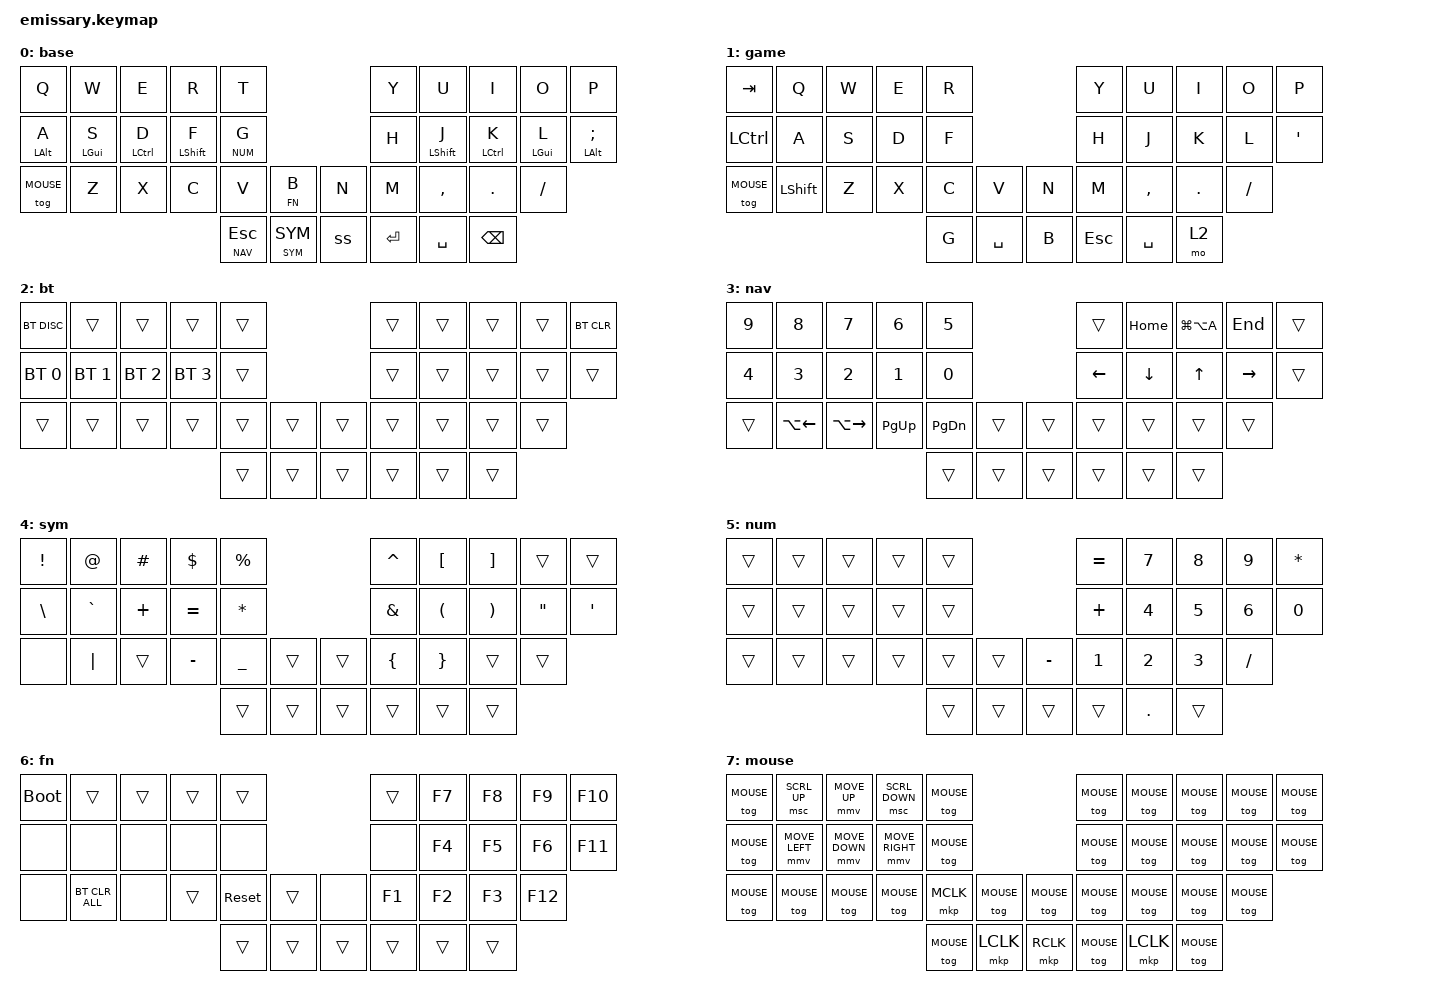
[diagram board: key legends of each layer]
#include <dt-bindings/zmk/outputs.h> // enable output switching to USB
#include <behaviors.dtsi>
#include <dt-bindings/zmk/keys.h>
#include <dt-bindings/zmk/bt.h>
#include "./mouse.dtsi"

/* Layers (Must be all caps. Layers can only access other layers that appear later in the stack, ie layer 7 cannot access layer 0. */
# define BASE   0
# define GAME   1
# define BT     2
# define NAV    3
# define SYM    4
# define NUM    5
# define FN     6
# define MOUSE  7

/* Abstractions */
// tapping-term-ms = time before hold is triggered on same side
#define HM_TAPPING_TERM 300
// quick-tap-ms = repeat on tap-into-hold occurs after this time
#define HM_TAPPING_TERM_FAST 200
// require-prior-idle-ms = if HRM was pressed n ms after a key was tapped, output a tap instead of a mod.
#define HM_PRIOR_IDLE 105

#define KEYS_L 0 1 2 3 4 5 11 12 13 14 15 21 22 23 24 25
#define KEYS_R 6 7 8 9 10 16 17 18 19 20 26 27 28 29 30
#define KEYS_T 31 32 33 34 35 36

#define COMBO(NAME, BINDINGS, KEYPOS, LAYERS, TIME) \
  combo_##NAME { \
    timeout-ms = <TIME>; \
    bindings = <BINDINGS>; \
    key-positions = <KEYPOS>; \
    layers = <LAYERS>; \
  };

/* Behavior settings */
&soft_off {
    hold-time-ms = <10>;
};

&caps_word {
    continue-list = <UNDER MINUS>;
};
&sk { //sticky key
    release-after-ms = <100>;
    quick-release; // no double capitalization when rolling keys
};
&sl {
    release-after-ms = <100>;
};

/* Key positions
    1  2  3  4  5  6  7  8  9 10
   11 12 13 14 15 16 17 18 19 20
0  21 22 23 24 25 26 27 28 29 30
     [31]32 33 34 35[36]          */

/ {
    macros {
        awm: awm {
            compatible = "zmk,behavior-macro";
            #binding-cells = <0>;
            wait-ms = <0>;
            bindings =
                <&macro_press &mo NAV &kp LGUI>,
                <&macro_pause_for_release>,
                <&macro_release &mo NAV &kp LGUI>;
            };
        };

    behaviors {
        ss: smart_shift {
            compatible = "zmk,behavior-tap-dance";
            #binding-cells = <0>;
            tapping-term-ms = <400>;
            bindings = <&sk LSHFT>, <&caps_word>;
        };
        wm: window_man {
            compatible = "zmk,behavior-hold-tap";
            #binding-cells = <2>;
            flavor = "hold-preferred";
            tapping-term-ms = <280>;
            bindings = <&awm>, <&sk>; // pass 0 as a dummy binding for the awm macro
        };
        mo_sl: mo_sl {
            compatible = "zmk,behavior-hold-tap";
            #binding-cells = <2>;
            flavor = "balanced";
            tapping-term-ms = <280>;
            bindings = <&mo>, <&sl>;
        };
        hml: homerow_mods_left {
            compatible = "zmk,behavior-hold-tap";
            #binding-cells = <2>;
            flavor = "balanced";
            tapping-term-ms = <HM_TAPPING_TERM>;
            quick-tap-ms = <175>;
            require-prior-idle-ms = <HM_PRIOR_IDLE>;
            hold-trigger-key-positions = <KEYS_R KEYS_T>;
            hold-trigger-on-release;
            bindings = <&kp>, <&kp>;
        };
        hmr: homerow_mods_right {
            compatible = "zmk,behavior-hold-tap";
            #binding-cells = <2>;
            flavor = "balanced";
            tapping-term-ms = <HM_TAPPING_TERM>;
            quick-tap-ms = <175>;
            require-prior-idle-ms = <HM_PRIOR_IDLE>;
            hold-trigger-key-positions = <KEYS_L KEYS_T>;
            hold-trigger-on-release;
            bindings = <&kp>, <&kp>;
        };
        lmk: left_mo_kp {
            compatible = "zmk,behavior-hold-tap";
            #binding-cells = <2>;
            flavor = "balanced";
            tapping-term-ms = <HM_TAPPING_TERM>;
            quick-tap-ms = <175>;
            require-prior-idle-ms = <HM_PRIOR_IDLE>;
            hold-trigger-key-positions = <KEYS_R KEYS_T>;
            hold-trigger-on-release;
            bindings = <&mo>, <&kp>;
        };
        rmk: right_mo_kp {
            compatible = "zmk,behavior-hold-tap";
            #binding-cells = <2>;
            flavor = "balanced";
            tapping-term-ms = <HM_TAPPING_TERM>;
            quick-tap-ms = <175>;
            require-prior-idle-ms = <HM_PRIOR_IDLE>;
            hold-trigger-key-positions = <KEYS_L KEYS_T>;
            hold-trigger-on-release;
            bindings = <&mo>, <&kp>;
        };
        hml_sh: homerow_shift_left {
            compatible = "zmk,behavior-hold-tap";
            #binding-cells = <2>;
            flavor = "balanced";
            tapping-term-ms = <200>;
            quick-tap-ms = <175>;
            require-prior-idle-ms = <HM_PRIOR_IDLE>;
            hold-trigger-key-positions = <KEYS_R KEYS_T>;
            hold-trigger-on-release;
            bindings = <&kp>, <&kp>;
        };
        hmr_sh: homerow_shift_right {
            compatible = "zmk,behavior-hold-tap";
            #binding-cells = <2>;
            flavor = "balanced";
            tapping-term-ms = <200>;
            quick-tap-ms = <175>;
            require-prior-idle-ms = <HM_PRIOR_IDLE>;
            hold-trigger-key-positions = <KEYS_L KEYS_T>;
            hold-trigger-on-release;
            bindings = <&kp>, <&kp>;
        }; 
    };

    combos {
        compatible = "zmk,combos";
     /* COMBO(NAME, BINDING, KEYPOS, LAYERS, TIME) */
        COMBO(softoff, &soft_off, 32 33 34, BASE, 15)
        COMBO(m1, &mkp LCLK, 4 14, BASE, 15)
        COMBO(m2, &mkp RCLK, 5 15, BASE, 15)
        COMBO(ldelete, &kp DEL, 12 13, BASE, 25)
        COMBO(rdelete, &kp DEL, 18 19, BASE GAME, 25)
        COMBO(tab, &kp TAB, 14 15, BASE, 30)
        COMBO(lenter, &kp ENTER, 13 14, BASE, 30)
        COMBO(renter, &kp ENTER, 17 18, BASE GAME, 30)
        COMBO(caps, &kp CAPS, 17 19, BASE, 25)
        COMBO(printscreen, &kp PSCRN, 9 19, BASE, 15)
        COMBO(wm, &wm 0 LGUI, 32 33, BASE, 25)
        COMBO(warpd, &kp LG(LA(A)), 8 18, BASE, 15)

        COMBO(mouse, &tog MOUSE, 3 13, BASE MOUSE, 15)
        COMBO(game, &tog GAME, 2 3 4, BASE GAME, 25)
        // COMBO(usbbt, &out OUT_TOG, 0 10, BASE)
        // COMBO(btclr, &bt BT_CLR, 1 11, BASE)
    };

    keymap {
        compatible = "zmk,keymap";

        base {
            bindings = <
    &kp Q &kp W &kp E &kp R &kp T                                             &kp Y &kp U &kp I &kp O &kp P
    &hml LALT A &hml LGUI S &hml LCTRL D &hml_sh LSHFT F &lmk NUM G                       &kp H &hmr_sh LSHFT J &hmr LCTRL K &hmr LGUI L &hmr LALT SEMI
    &tog MOUSE &kp Z &kp X &kp C &kp V &lmk FN B                                       &kp N &kp M  &kp CMMA &kp DOT &kp SLASH
                                 &lt NAV ESC &mo_sl SYM SYM  &ss            &kp ENTER &kp SPACE &kp BSPC
            >;
        };

        game {
            bindings = <
    &kp TAB &kp Q &kp W &kp E &kp R                                             &kp Y &kp U &kp I &kp O &kp P
    &kp LCTRL &kp A &kp S &kp D &kp F                                             &kp H &kp J &kp K &kp L &kp QUOT
    &tog MOUSE &kp LSHFT &kp Z &kp X &kp C &kp V                             &kp N &kp M  &kp CMMA &kp DOT &kp SLASH
                                 &kp G &kp SPACE &kp B            &kp ESC &kp SPC &mo 2
            >;
        };

        bt {
            bindings = <
    &bt BT_DISC &trans &trans &trans &trans                                        &trans &trans &trans &trans &bt BT_CLR
    &bt BT_SEL 0 &bt BT_SEL 1 &bt BT_SEL 2 &bt BT_SEL 3 &trans                     &trans &trans &trans &trans &trans
    &trans &trans &trans &trans &trans &trans                            &trans &trans &trans &trans &trans
                                &trans &trans &trans            &trans &trans &trans
            >;
        };

        nav {
            bindings = <
    &kp N9 &kp N8 &kp N7 &kp N6 &kp N5                                        &trans &kp HOME &kp LG(LA(A)) &kp END &trans
    &kp N4 &kp N3 &kp N2 &kp N1 &kp N0                                        &kp LEFT &kp DOWN &kp UP &kp RIGHT &trans
    &trans &kp LA(LEFT) &kp LA(RIGHT) &kp PG_UP &kp PG_DN &trans                             &trans &trans &trans &trans &trans
                                &trans &trans &trans            &trans &trans &trans
            >;
        };

        sym {
            bindings = <
    &kp EXCL &kp AT &kp HASH &kp DLLR &kp PRCNT                                        &kp CARET &kp LBKT &kp RBKT &trans &trans
    &kp BSLH &kp GRAVE &kp PLUS &kp EQUAL &kp STAR                                        &kp AMPS &kp LPAR &kp RPAR &kp DQT &kp SQT
    &none &kp PIPE &trans &kp MINUS &kp UNDER &trans                            &trans &kp LBRC &kp RBRC &trans &trans
                                &trans &trans &trans            &trans &trans &trans
            >;
        };

        num {
            bindings = <
    &trans &trans &trans &trans &trans                                        &kp EQUAL  &kp N7 &kp N8 &kp N9 &kp STAR
    &trans &trans &trans &trans &trans                                        &kp PLUS  &kp N4 &kp N5 &kp N6 &kp N0
    &trans &trans &trans &trans &trans &trans                            &kp MINUS &kp N1 &kp N2 &kp N3 &kp SLASH
                                &trans &trans &trans            &trans &kp DOT &trans
            >;
        };

        fn {
            bindings = <
    &bootloader &trans &trans &trans &trans                                        &trans &kp F7 &kp F8 &kp F9 &kp F10
    &none &none &none &none &none                                        &none &kp F4 &kp F5 &kp F6 &kp F11
    &none &bt BT_CLR_ALL &none &trans &sys_reset &trans                            &none &kp F1 &kp F2 &kp F3 &kp F12 
                                &trans &trans &trans            &trans &trans &trans
            >;
        };

        mouse {
            bindings = <
    &tog MOUSE &msc SCRL_UP &mmv MOVE_UP &msc SCRL_DOWN &tog MOUSE                                        &tog MOUSE &tog MOUSE &tog MOUSE &tog MOUSE &tog MOUSE
    &tog MOUSE &mmv MOVE_LEFT &mmv MOVE_DOWN &mmv MOVE_RIGHT &tog MOUSE                                        &tog MOUSE &tog MOUSE &tog MOUSE &tog MOUSE &tog MOUSE
    &tog MOUSE &tog MOUSE &tog MOUSE &tog MOUSE &mkp MCLK &tog MOUSE                            &tog MOUSE &tog MOUSE &tog MOUSE &tog MOUSE &tog MOUSE
                                &tog MOUSE &mkp LCLK &mkp RCLK            &tog MOUSE &mkp LCLK &tog MOUSE >;
        };
    };
};
